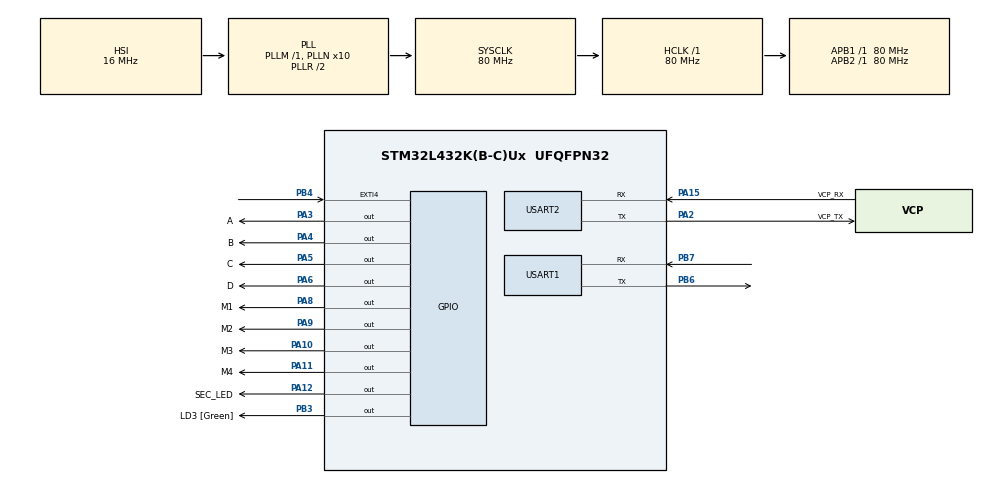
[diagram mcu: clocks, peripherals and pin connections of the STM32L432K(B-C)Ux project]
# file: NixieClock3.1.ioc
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Dma.Request0=USART1_RX
Dma.USART1_RX.0.Direction=DMA_PERIPH_TO_MEMORY
Dma.USART1_RX.0.Instance=DMA1_Channel5
Dma.USART1_RX.0.MemDataAlignment=DMA_MDATAALIGN_BYTE
Dma.USART1_RX.0.MemInc=DMA_MINC_ENABLE
Dma.USART1_RX.0.Mode=DMA_NORMAL
Dma.USART1_RX.0.PeriphDataAlignment=DMA_PDATAALIGN_BYTE
Dma.USART1_RX.0.PeriphInc=DMA_PINC_DISABLE
Dma.USART1_RX.0.Priority=DMA_PRIORITY_LOW
IWDG.Prescaler=IWDG_PRESCALER_64
Mcu.Family=STM32L4
Mcu.Name=STM32L432K(B-C)Ux
Mcu.Package=UFQFPN32
NVIC.DMA1_Channel5_IRQn=true\:0\:0\:false\:false\:true\:false\:true\:true
NVIC.PriorityGroup=NVIC_PRIORITYGROUP_4
NVIC.USART1_IRQn=true\:0\:0\:true\:false\:true\:true\:true\:true
NVIC.USART2_IRQn=true\:0\:0\:true\:false\:true\:true\:true\:true
PA0.GPIO_Label=MCO [High speed clock in]
PA0.Signal=RCC_CK_IN
PA10.GPIO_Label=M3
PA10.Signal=GPIO_Output
PA11.GPIO_Label=M4
PA11.Signal=GPIO_Output
PA12.GPIO_Label=SEC_LED
PA12.Signal=GPIO_Output
PA13\ (JTMS-SWDIO).GPIO_Label=SWDIO
PA13\ (JTMS-SWDIO).Mode=Serial_Wire
PA13\ (JTMS-SWDIO).Signal=SYS_JTMS-SWDIO
PA14\ (JTCK-SWCLK).GPIO_Label=SWCLK
PA14\ (JTCK-SWCLK).Mode=Serial_Wire
PA14\ (JTCK-SWCLK).Signal=SYS_JTCK-SWCLK
PA15\ (JTDI).GPIO_Label=VCP_RX
PA15\ (JTDI).Mode=Asynchronous
PA15\ (JTDI).Signal=USART2_RX
PA2.GPIO_Label=VCP_TX
PA2.Mode=Asynchronous
PA2.Signal=USART2_TX
PA3.GPIO_Label=A
PA3.Signal=GPIO_Output
PA4.GPIO_Label=B
PA4.Signal=GPIO_Output
PA5.GPIO_Label=C
PA5.Signal=GPIO_Output
PA6.GPIO_Label=D
PA6.Signal=GPIO_Output
PA8.GPIO_Label=M1
PA8.Signal=GPIO_Output
PA9.GPIO_Label=M2
PA9.Signal=GPIO_Output
PB3\ (JTDO-TRACESWO).GPIO_Label=LD3 [Green]
PB3\ (JTDO-TRACESWO).Signal=GPIO_Output
PB4\ (NJTRST).GPIO_ModeDefaultEXTI=GPIO_MODE_IT_RISING
PB4\ (NJTRST).GPIO_PuPd=GPIO_PULLUP
PB4\ (NJTRST).Signal=GPXTI4
PB6.Mode=Asynchronous
PB6.Signal=USART1_TX
PB7.Mode=Asynchronous
PB7.Signal=USART1_RX
PC14-OSC32_IN\ (PC14).Mode=LSE-External-Oscillator
PC14-OSC32_IN\ (PC14).Signal=RCC_OSC32_IN
PC15-OSC32_OUT\ (PC15).Mode=LSE-External-Oscillator
PC15-OSC32_OUT\ (PC15).Signal=RCC_OSC32_OUT
ProjectManager.HeapSize=0x200
ProjectManager.StackSize=0x400
ProjectManager.TargetToolchain=STM32CubeIDE
RCC.ADCFreq_Value=64000000
RCC.AHBFreq_Value=80000000
RCC.APB1Freq_Value=80000000
RCC.APB1TimFreq_Value=80000000
RCC.APB2Freq_Value=80000000
RCC.APB2TimFreq_Value=80000000
RCC.CortexFreq_Value=80000000
RCC.HCLKFreq_Value=80000000
RCC.HSE_VALUE=8000000
RCC.HSI48_VALUE=48000000
RCC.HSI_VALUE=16000000
RCC.LSE_Drive_Capability=RCC_LSEDRIVE_MEDIUMLOW
RCC.MSI_VALUE=4000000
RCC.PLLN=10
RCC.PLLSourceVirtual=RCC_PLLSOURCE_HSI
RCC.RTCClockSelection=RCC_RTCCLKSOURCE_LSE
RCC.SYSCLKFreq_VALUE=80000000
RCC.SYSCLKSource=RCC_SYSCLKSOURCE_PLLCLK
RCC.USBFreq_Value=64000000
RCC.VCOOutputFreq_Value=160000000
RTC.Format=RTC_FORMAT_BCD
RTC.Hours=5
RTC.Minutes=59
RTC.Month=RTC_MONTH_DECEMBER
RTC.Seconds=1
RTC.StoreOperation=RTC_STOREOPERATION_RESET
RTC.Year=25
SYS.PowerMode=PWR_LDO_SUPPLY
USART1.VirtualMode-Asynchronous=VM_ASYNC
USART2.VirtualMode-Asynchronous=VM_ASYNC
VP_IWDG_VS_IWDG.Mode=IWDG_Activate
VP_RTC_VS_RTC_Activate.Mode=RTC_Enabled
VP_RTC_VS_RTC_Calendar.Mode=RTC_Calendar
VP_SYS_VS_LPOM.Mode=PowerOptimisation
board=NUCLEO-L432KC

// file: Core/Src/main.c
/* USER CODE BEGIN Header */
/**
  ******************************************************************************
  * @file           : main.c
  * @brief          : Main program body
  ******************************************************************************
  * @attention
  *
  * Copyright (c) 2025 STMicroelectronics.
  * All rights reserved.
  *
  * This software is licensed under terms that can be found in the LICENSE file
  * in the root directory of this software component.
  * If no LICENSE file comes with this software, it is provided AS-IS.
  *
  ******************************************************************************
  */
/* USER CODE END Header */
#include "main.h"

/* USER CODE BEGIN Includes */
#include <string.h>
#include <stdio.h>
#include <stdlib.h>
#include <stdint.h>
#include "ESP8266_HAL.h"
/* USER CODE END Includes */

/* USER CODE BEGIN PM */
#define BITVALUE(X,N) (((X) >> (N)) & 0x1)
/* USER CODE END PM */

IWDG_HandleTypeDef hiwdg;

RTC_HandleTypeDef hrtc;

UART_HandleTypeDef huart1;
UART_HandleTypeDef huart2;
DMA_HandleTypeDef hdma_usart1_rx;

/* USER CODE BEGIN PV */
RTC_TimeTypeDef sTime;
RTC_DateTypeDef sDate;
char  SerialData[4]={0};
int setflag=0;
int stopflag=0;
int setH=0;
int setM=0;
double ledload=100;//mennyi ideig villog a led
double RTCload=1000;//mennyi időnként frissítjük az órát

/* USER CODE END PV */

void SystemClock_Config(void);
static void MX_GPIO_Init(void);
static void MX_DMA_Init(void);
static void MX_USART2_UART_Init(void);
static void MX_RTC_Init(void);
static void MX_USART1_UART_Init(void);
static void MX_IWDG_Init(void);
/* USER CODE BEGIN PFP */
uint8_t int_to_bcd(uint8_t value)
{
    return ((value / 10) << 4) | (value % 10);
}
int bcd_to_int(uint8_t bcd)
{
    return ((bcd >> 4) * 10) + (bcd & 0x0F);
}

void SetRTC(RTC_TimeTypeDef TimeSet,RTC_DateTypeDef DateSet)
{
	HAL_Delay(10);
	  TimeSet.DayLightSaving = RTC_DAYLIGHTSAVING_NONE;
	  TimeSet.StoreOperation = RTC_STOREOPERATION_RESET;
	  TimeSet.TimeFormat = RTC_HOURFORMAT_24  ;
    HAL_RTC_SetTime(&hrtc, &TimeSet, RTC_FORMAT_BIN);//binary setting !!!
    HAL_RTC_SetDate(&hrtc, &DateSet, RTC_FORMAT_BIN);

}

void ReadRTC(void)
{
	char buffer[30];
	  HAL_RTC_GetTime(&hrtc, &sTime, RTC_FORMAT_BCD);
	  HAL_RTC_GetDate(&hrtc, &sDate, RTC_FORMAT_BCD); //ez csak azért kell, mert enélkül megáll az rtc
	  sprintf(buffer,"Time:%d:%d:%d\r\n",bcd_to_int(sTime.Hours),bcd_to_int(sTime.Minutes),bcd_to_int(sTime.Seconds));
	  HAL_UART_Transmit(&huart2, (uint8_t*)buffer, strlen(buffer), 100);
}
void Display(int showtime)
{
  	  HAL_Delay(showtime);
  	  //4-7 bitek a 10-es bcd helyiértékek
	  HAL_GPIO_WritePin(GPIOA, A_Pin, BITVALUE(sTime.Hours,4));
	  HAL_GPIO_WritePin(GPIOA, B_Pin, BITVALUE(sTime.Hours,5));
	  HAL_GPIO_WritePin(GPIOA, C_Pin, BITVALUE(sTime.Hours,6));
	  HAL_GPIO_WritePin(GPIOA, D_Pin, BITVALUE(sTime.Hours,7));
	  if (showtime!=0)HAL_GPIO_WritePin(GPIOA, M1_Pin, 1);
	  HAL_Delay(showtime);
	  HAL_GPIO_WritePin(GPIOA, M1_Pin, 0);
	  //0-3 bitek az 1-es bcd helyiértékek
	  HAL_GPIO_WritePin(GPIOA, A_Pin, BITVALUE(sTime.Hours,0));
	  HAL_GPIO_WritePin(GPIOA, B_Pin, BITVALUE(sTime.Hours,1));
	  HAL_GPIO_WritePin(GPIOA, C_Pin, BITVALUE(sTime.Hours,2));
	  HAL_GPIO_WritePin(GPIOA, D_Pin, BITVALUE(sTime.Hours,3));
	  if (showtime!=0)HAL_GPIO_WritePin(GPIOA, M2_Pin, 1);
	  HAL_Delay(showtime);
	  HAL_GPIO_WritePin(GPIOA, M2_Pin, 0);
	  //4-7 bitek a 10-es bcd helyiértékek
	  HAL_GPIO_WritePin(GPIOA, A_Pin, BITVALUE(sTime.Minutes,4));
	  HAL_GPIO_WritePin(GPIOA, B_Pin, BITVALUE(sTime.Minutes,5));
	  HAL_GPIO_WritePin(GPIOA, C_Pin, BITVALUE(sTime.Minutes,6));
	  HAL_GPIO_WritePin(GPIOA, D_Pin, BITVALUE(sTime.Minutes,7));
	  if (showtime!=0)HAL_GPIO_WritePin(GPIOA, M4_Pin, 1);
	  HAL_Delay(showtime);
	  HAL_GPIO_WritePin(GPIOA, M4_Pin, 0);
	  //0-3 bitek az 1-es bcd helyiértékek
	  HAL_GPIO_WritePin(GPIOA, A_Pin, BITVALUE(sTime.Minutes,0));
	  HAL_GPIO_WritePin(GPIOA, B_Pin, BITVALUE(sTime.Minutes,1));
	  HAL_GPIO_WritePin(GPIOA, C_Pin, BITVALUE(sTime.Minutes,2));
	  HAL_GPIO_WritePin(GPIOA, D_Pin, BITVALUE(sTime.Minutes,3));
	  if (showtime!=0)HAL_GPIO_WritePin(GPIOA, M3_Pin, 1);
	  HAL_Delay(showtime);
	  HAL_GPIO_WritePin(GPIOA, M3_Pin, 0);
}

void InitProc(void)
{
	  HAL_RTC_GetTime(&hrtc, &sTime, RTC_FORMAT_BCD);
	  HAL_RTC_GetDate(&hrtc, &sDate, RTC_FORMAT_BCD); //ez csak azért kell, mert enélkül megáll az rtc

	  while(ESP_Init("Viva la Bajot","negyvenketto42")!=1)
	  {
	 	HAL_Delay(1000);//led villogjon minden próbálkozásnál
	 	HAL_GPIO_TogglePin(GPIOB, LD3_Pin);
	  }
	  HAL_Delay(1000);
	  SetRTC(AskTime(&sDate),sDate);
	  HAL_Delay(1000);
	  ReadRTC();
}

/* USER CODE END PFP */

int main(void)
{

  /* MCU Configuration--------------------------------------------------------*/

  /* Reset of all peripherals, Initializes the Flash interface and the Systick. */
  HAL_Init();

  /* USER CODE BEGIN Init */
//  *********************************************************************************************
//  DBGMCU->APB1FZR1 |= DBGMCU_APB1FZR1_DBG_IWDG_STOP;//stop watchdog from ruining my debug
  /* USER CODE END Init */

  /* Configure the system clock */
  SystemClock_Config();

  /* Initialize all configured peripherals */
  MX_GPIO_Init();
  MX_DMA_Init();
  MX_USART2_UART_Init();
  MX_RTC_Init();
  MX_USART1_UART_Init();
  MX_IWDG_Init();
  /* USER CODE BEGIN 2 */
 char buffer[100]; // Buffer to hold time/date string
  int ledblink=0;
  int readRTC=0;
  int displaytime=2;
//  int PH=0;
//  int H=0;
  sDate.WeekDay = 1;
  sDate.Month = 12;
  sDate.Date = 29;
  sDate.Year = 25;
  InitProc();
 // PH=bcd_to_int(sTime.Hours);

  /* USER CODE END 2 */

  /* Infinite loop */
  /* USER CODE BEGIN WHILE */
  while (1)

  {

	  readRTC++;

	  if (readRTC>RTCload){
		  HAL_RTC_GetTime(&hrtc, &sTime, RTC_FORMAT_BCD);
		  HAL_RTC_GetDate(&hrtc, &sDate, RTC_FORMAT_BCD); //ez csak azért kell, mert enélkül megáll az rtc
		  sprintf(buffer,"Time:%d:%d:%d\r\n",bcd_to_int(sTime.Hours),bcd_to_int(sTime.Minutes),bcd_to_int(sTime.Seconds));
		  HAL_UART_Transmit(&huart2, (uint8_t*)buffer, strlen(buffer), 100);

		  if (bcd_to_int(sTime.Minutes)==13){sTime.Minutes=int_to_bcd(12);}//13talanítás

		  if (bcd_to_int(sTime.Hours)>23 && bcd_to_int(sTime.Minutes)>58){while(1);}//megjavított rtc reset naponta 1x
		  /*//régi reset
		  if (bcd_to_int(sTime.Hours)>24){while(1);}//ha 24 óránál többet mutat watchdog reset
		  H=bcd_to_int(sTime.Hours);
		  if (H-PH!=0){ 						//ha aktuális óra-előző óra =0 tehát megegyeznek akkor ne csináljon semmit
			  if(H-PH==1){PH=H;}				//ha aktuális óra- előző óra =1 akkor normál üzem van, lementjük
			  if(H-PH<0){while(1);}				 //ha aktuális óra- előző óra =negatív szám, akkor watchdog reset
		  }
		  */
		  if (bcd_to_int(sTime.Hours)>22 || bcd_to_int(sTime.Hours)<5){displaytime=0;}//kijelző kikapcsolás este 11 után vagyról módosítva
		  else{displaytime=2;}
		  readRTC=0;
	  }
	  ledblink++;

	  if (ledblink>ledload){
		  if (bcd_to_int(sTime.Hours)>22 || bcd_to_int(sTime.Hours)<5){goto LEDOFF;}//éjjelre led ne villogjon
		 // HAL_GPIO_WritePin(GPIOB, LD3_Pin,1); //zöld led
		  HAL_GPIO_WritePin(GPIOA, SEC_LED_Pin,1);
		  LEDOFF:
		  if (ledblink>110){HAL_GPIO_WritePin(GPIOB, LD3_Pin,0);HAL_GPIO_WritePin(GPIOA, SEC_LED_Pin,0);ledblink=0;}
	  }

	  HAL_IWDG_Refresh(&hiwdg);
	  Display(displaytime);

    /* USER CODE END WHILE */

  }
}

void SystemClock_Config(void)
{
  RCC_OscInitTypeDef RCC_OscInitStruct = {0};
  RCC_ClkInitTypeDef RCC_ClkInitStruct = {0};

  /** Configure the main internal regulator output voltage
  */
  if (HAL_PWREx_ControlVoltageScaling(PWR_REGULATOR_VOLTAGE_SCALE1) != HAL_OK)
  {
    Error_Handler();
  }

  /** Configure LSE Drive Capability
  */
  HAL_PWR_EnableBkUpAccess();
  __HAL_RCC_LSEDRIVE_CONFIG(RCC_LSEDRIVE_MEDIUMLOW);

  /** Initializes the RCC Oscillators according to the specified parameters
  * in the RCC_OscInitTypeDef structure.
  */
  RCC_OscInitStruct.OscillatorType = RCC_OSCILLATORTYPE_HSI|RCC_OSCILLATORTYPE_LSI
                              |RCC_OSCILLATORTYPE_LSE;
  RCC_OscInitStruct.LSEState = RCC_LSE_ON;
  RCC_OscInitStruct.HSIState = RCC_HSI_ON;
  RCC_OscInitStruct.HSICalibrationValue = RCC_HSICALIBRATION_DEFAULT;
  RCC_OscInitStruct.LSIState = RCC_LSI_ON;
  RCC_OscInitStruct.PLL.PLLState = RCC_PLL_ON;
  RCC_OscInitStruct.PLL.PLLSource = RCC_PLLSOURCE_HSI;
  RCC_OscInitStruct.PLL.PLLM = 1;
  RCC_OscInitStruct.PLL.PLLN = 10;
  RCC_OscInitStruct.PLL.PLLP = RCC_PLLP_DIV7;
  RCC_OscInitStruct.PLL.PLLQ = RCC_PLLQ_DIV2;
  RCC_OscInitStruct.PLL.PLLR = RCC_PLLR_DIV2;
  if (HAL_RCC_OscConfig(&RCC_OscInitStruct) != HAL_OK)
  {
    Error_Handler();
  }

  /** Initializes the CPU, AHB and APB buses clocks
  */
  RCC_ClkInitStruct.ClockType = RCC_CLOCKTYPE_HCLK|RCC_CLOCKTYPE_SYSCLK
                              |RCC_CLOCKTYPE_PCLK1|RCC_CLOCKTYPE_PCLK2;
  RCC_ClkInitStruct.SYSCLKSource = RCC_SYSCLKSOURCE_PLLCLK;
  RCC_ClkInitStruct.AHBCLKDivider = RCC_SYSCLK_DIV1;
  RCC_ClkInitStruct.APB1CLKDivider = RCC_HCLK_DIV1;
  RCC_ClkInitStruct.APB2CLKDivider = RCC_HCLK_DIV1;

  if (HAL_RCC_ClockConfig(&RCC_ClkInitStruct, FLASH_LATENCY_4) != HAL_OK)
  {
    Error_Handler();
  }
}

static void MX_IWDG_Init(void)
{

  hiwdg.Instance = IWDG;
  hiwdg.Init.Prescaler = IWDG_PRESCALER_64;
  hiwdg.Init.Window = 4095;
  hiwdg.Init.Reload = 4095;
  if (HAL_IWDG_Init(&hiwdg) != HAL_OK)
  {
    Error_Handler();
  }

}

static void MX_RTC_Init(void)
{

  RTC_TimeTypeDef sTime = {0};
  RTC_DateTypeDef sDate = {0};

  /** Initialize RTC Only
  */
  hrtc.Instance = RTC;
  hrtc.Init.HourFormat = RTC_HOURFORMAT_24;
  hrtc.Init.AsynchPrediv = 127;
  hrtc.Init.SynchPrediv = 255;
  hrtc.Init.OutPut = RTC_OUTPUT_DISABLE;
  hrtc.Init.OutPutRemap = RTC_OUTPUT_REMAP_NONE;
  hrtc.Init.OutPutPolarity = RTC_OUTPUT_POLARITY_HIGH;
  hrtc.Init.OutPutType = RTC_OUTPUT_TYPE_OPENDRAIN;
  if (HAL_RTC_Init(&hrtc) != HAL_OK)
  {
    Error_Handler();
  }

  /** Initialize RTC and set the Time and Date
  */
  sTime.Hours = 0x5;
  sTime.Minutes = 0x59;
  sTime.Seconds = 0x1;
  sTime.DayLightSaving = RTC_DAYLIGHTSAVING_NONE;
  sTime.StoreOperation = RTC_STOREOPERATION_RESET;
  if (HAL_RTC_SetTime(&hrtc, &sTime, RTC_FORMAT_BCD) != HAL_OK)
  {
    Error_Handler();
  }
  sDate.WeekDay = RTC_WEEKDAY_MONDAY;
  sDate.Month = RTC_MONTH_DECEMBER;
  sDate.Date = 0x1;
  sDate.Year = 0x25;

  if (HAL_RTC_SetDate(&hrtc, &sDate, RTC_FORMAT_BCD) != HAL_OK)
  {
    Error_Handler();
  }

}

static void MX_USART1_UART_Init(void)
{

  huart1.Instance = USART1;
  huart1.Init.BaudRate = 115200;
  huart1.Init.WordLength = UART_WORDLENGTH_8B;
  huart1.Init.StopBits = UART_STOPBITS_1;
  huart1.Init.Parity = UART_PARITY_NONE;
  huart1.Init.Mode = UART_MODE_TX_RX;
  huart1.Init.HwFlowCtl = UART_HWCONTROL_NONE;
  huart1.Init.OverSampling = UART_OVERSAMPLING_16;
  huart1.Init.OneBitSampling = UART_ONE_BIT_SAMPLE_DISABLE;
  huart1.AdvancedInit.AdvFeatureInit = UART_ADVFEATURE_NO_INIT;
  if (HAL_UART_Init(&huart1) != HAL_OK)
  {
    Error_Handler();
  }

}

static void MX_USART2_UART_Init(void)
{

  huart2.Instance = USART2;
  huart2.Init.BaudRate = 115200;
  huart2.Init.WordLength = UART_WORDLENGTH_8B;
  huart2.Init.StopBits = UART_STOPBITS_1;
  huart2.Init.Parity = UART_PARITY_NONE;
  huart2.Init.Mode = UART_MODE_TX_RX;
  huart2.Init.HwFlowCtl = UART_HWCONTROL_NONE;
  huart2.Init.OverSampling = UART_OVERSAMPLING_16;
  huart2.Init.OneBitSampling = UART_ONE_BIT_SAMPLE_DISABLE;
  huart2.AdvancedInit.AdvFeatureInit = UART_ADVFEATURE_NO_INIT;
  if (HAL_UART_Init(&huart2) != HAL_OK)
  {
    Error_Handler();
  }

}

static void MX_DMA_Init(void)
{

  /* DMA controller clock enable */
  __HAL_RCC_DMA1_CLK_ENABLE();

  /* DMA interrupt init */
  /* DMA1_Channel5_IRQn interrupt configuration */
  HAL_NVIC_SetPriority(DMA1_Channel5_IRQn, 0, 0);
  HAL_NVIC_EnableIRQ(DMA1_Channel5_IRQn);

}

static void MX_GPIO_Init(void)
{
  GPIO_InitTypeDef GPIO_InitStruct = {0};

  /* GPIO Ports Clock Enable */
  __HAL_RCC_GPIOC_CLK_ENABLE();
  __HAL_RCC_GPIOA_CLK_ENABLE();
  __HAL_RCC_GPIOB_CLK_ENABLE();

  /*Configure GPIO pin Output Level */
  HAL_GPIO_WritePin(GPIOA, A_Pin|B_Pin|C_Pin|D_Pin
                          |M1_Pin|M2_Pin|M3_Pin|M4_Pin
                          |SEC_LED_Pin, GPIO_PIN_RESET);

  /*Configure GPIO pin Output Level */
  HAL_GPIO_WritePin(LD3_GPIO_Port, LD3_Pin, GPIO_PIN_RESET);

  /*Configure GPIO pins : A_Pin B_Pin C_Pin D_Pin
                           M1_Pin M2_Pin M3_Pin M4_Pin
                           SEC_LED_Pin */
  GPIO_InitStruct.Pin = A_Pin|B_Pin|C_Pin|D_Pin
                          |M1_Pin|M2_Pin|M3_Pin|M4_Pin
                          |SEC_LED_Pin;
  GPIO_InitStruct.Mode = GPIO_MODE_OUTPUT_PP;
  GPIO_InitStruct.Pull = GPIO_NOPULL;
  GPIO_InitStruct.Speed = GPIO_SPEED_FREQ_LOW;
  HAL_GPIO_Init(GPIOA, &GPIO_InitStruct);

  /*Configure GPIO pin : LD3_Pin */
  GPIO_InitStruct.Pin = LD3_Pin;
  GPIO_InitStruct.Mode = GPIO_MODE_OUTPUT_PP;
  GPIO_InitStruct.Pull = GPIO_NOPULL;
  GPIO_InitStruct.Speed = GPIO_SPEED_FREQ_LOW;
  HAL_GPIO_Init(LD3_GPIO_Port, &GPIO_InitStruct);

  /*Configure GPIO pin : PB4 */
  GPIO_InitStruct.Pin = GPIO_PIN_4;
  GPIO_InitStruct.Mode = GPIO_MODE_IT_RISING;
  GPIO_InitStruct.Pull = GPIO_PULLUP;
  HAL_GPIO_Init(GPIOB, &GPIO_InitStruct);

}

/* USER CODE BEGIN 4 */
//void HAL_UARTEx_RxEventCallback(UART_HandleTypeDef *huart, uint16_t Size)
//{
//	HAL_UARTEx_ReceiveToIdle_IT(&huart2,(uint8_t*)SerialData, 4);
//	setflag=1;

//}
//void HAL_PWR_PVDCallback()
//{
//	stopflag=0;
//	  PWR_PVDTypeDef sConfigPVD = {0};
//if (stopflag==0){//stopmode bekapcs
//	stopflag=1;
//	  sConfigPVD.PVDLevel = PWR_PVDLEVEL_6;
//	  sConfigPVD.Mode = PWR_PVD_MODE_IT_FALLING;
//	  HAL_PWR_ConfigPVD(&sConfigPVD);
//	HAL_GPIO_WritePin(GPIOB, LD3_Pin,0);
//	HAL_SuspendTick();
	//HAL_PWR_EnterSLEEPMode(PWR_MAINREGULATOR_ON,PWR_STOPENTRY_WFI);
//	HAL_PWR_EnterSTOPMode(PWR_LOWPOWERREGULATOR_ON, PWR_STOPENTRY_WFI);
//}
//else{//stopmode kikapcs
//	HAL_ResumeTick();
//	  sConfigPVD.PVDLevel = PWR_PVDLEVEL_6;
//	  sConfigPVD.Mode = PWR_PVD_MODE_IT_RISING;
//	  HAL_PWR_ConfigPVD(&sConfigPVD);
//	HAL_GPIO_WritePin(GPIOB, LD3_Pin,1);
//	stopflag=0;
//}
//}

void HAL_GPIO_EXTI_Callback(uint16_t GPIO_Pin)
{

	if(GPIO_Pin == GPIO_PIN_4){

		//  if(stopflag == 1)
		 // {

			  SystemClock_Config ();
			  HAL_ResumeTick();
			  HAL_Delay(1000);

//			  char *str = "WAKEUP FROM EXTII\r\n";
//			  HAL_UART_Transmit(&huart2, (uint8_t *) str, strlen (str), HAL_MAX_DELAY);

		  //}
		  //else
		  //{

		  //}
	//	HAL_RTC_GetTime(&hrtc, &sTime, RTC_FORMAT_BCD);
	//	HAL_RTC_GetDate(&hrtc, &sDate, RTC_FORMAT_BCD);
	//	sTime.Minutes = sTime.Minutes+1;
	//	HAL_Delay(100);
	//   HAL_RTC_SetTime(&hrtc, &sTime, RTC_FORMAT_BCD);
	//    HAL_RTC_SetDate(&hrtc, &sDate, RTC_FORMAT_BCD);
//	}
/*	if(GPIO_Pin == GPIO_PIN_6){
		HAL_RTC_GetTime(&hrtc, &sTime, RTC_FORMAT_BCD);
		HAL_RTC_GetDate(&hrtc, &sDate, RTC_FORMAT_BCD);
		sTime.Hours= sTime.Hours+1;
		HAL_Delay(100);
	    HAL_RTC_SetTime(&hrtc, &sTime, RTC_FORMAT_BCD);
	    HAL_RTC_SetDate(&hrtc, &sDate, RTC_FORMAT_BCD);
	}
*/
	}
}

/* USER CODE END 4 */

void Error_Handler(void)
{
  __disable_irq();
  while (1)
  {
  }
}
